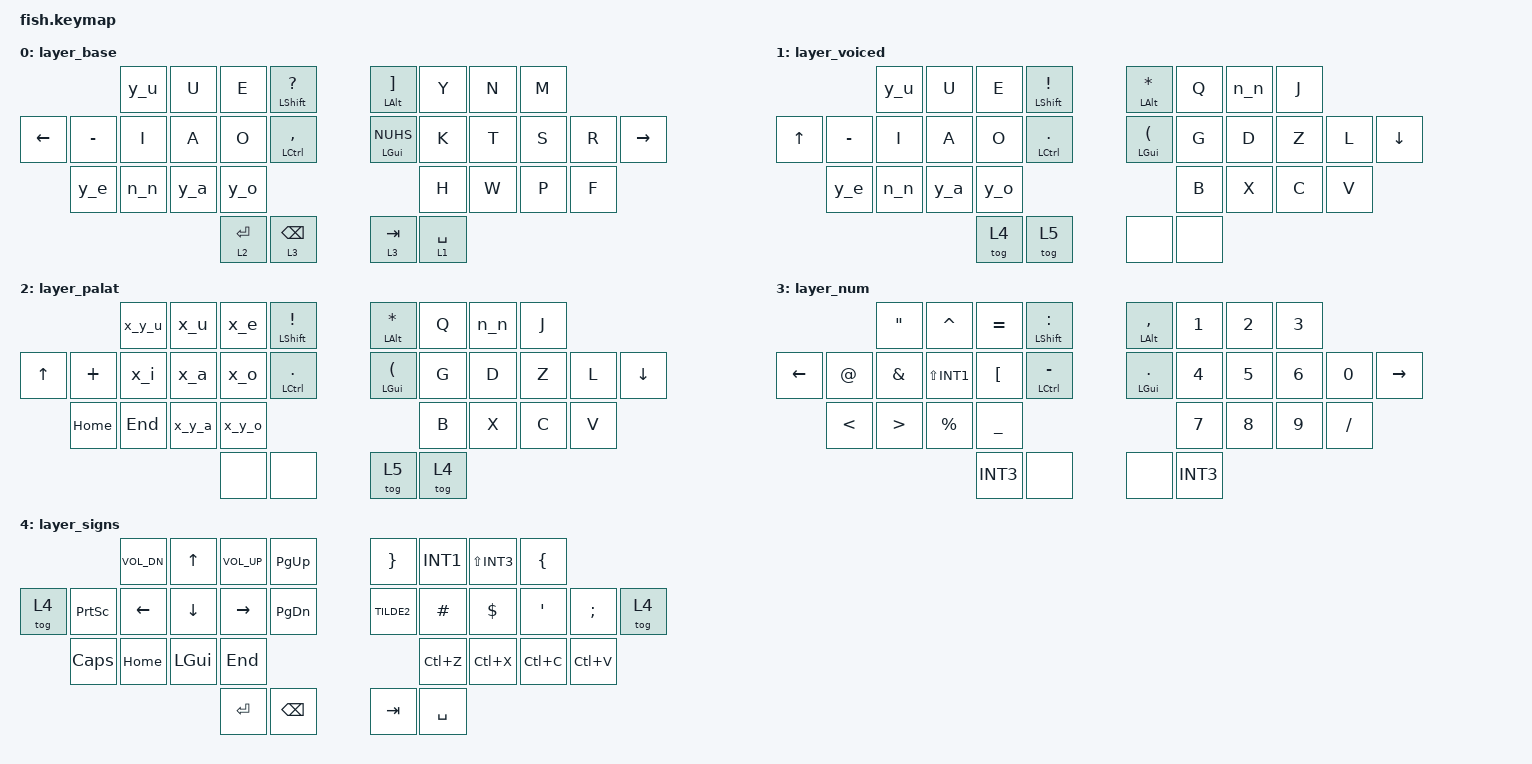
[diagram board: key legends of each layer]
// デフォルトキーマップ（大西配列、Win優先、ANSI方式）
// キーマップを更新する方法は https://o24.works/fish/guide を参照
// 視覚的に編集するには https://o24.works/fish/editor を参照


// 定義を呼んでくる
#include <behaviors.dtsi>
#include <dt-bindings/zmk/keys.h>
#include <dt-bindings/zmk/mouse.h>
#include <dt-bindings/zmk/bt.h>
#include <dt-bindings/zmk/outputs.h>
#include <dt-bindings/zmk/pointing.h>


// 特殊入力の挙動を調整できる

&mt {
    flavor = "tap-preferred";
    tapping-term-ms = <225>;
    quick-tap-ms = <200>;
    require-prior-idle-ms = <150>;
};

&lt {
    flavor = "balanced";
    tapping-term-ms = <175>;
    quick-tap-ms = <200>;
};

&sk {
};

&sl {
};

&caps_word {
};

&key_repeat {
};


/ {
    // 独自の入力を定義できる（上級者向け）

    behaviors {
    };

    macros {
        y_a: y_a {
            compatible = "zmk,behavior-macro";
            #binding-cells = <0>;
            bindings
                = <&macro_tap &kp Y &kp A>
                ;
            };

        z_y_o_u: z_y_o_u {
            compatible = "zmk,behavior-macro";
            #binding-cells = <0>;
            bindings
                = <&macro_tap &kp Z &kp Y &kp O &kp U>
                ;
            };

        y_o_u: y_o_u {
            compatible = "zmk,behavior-macro";
            #binding-cells = <0>;
            bindings
                = <&macro_tap &kp Y &kp O &kp U>
                ;
            };

      
        y_u: y_u {
            compatible = "zmk,behavior-macro";
            #binding-cells = <0>;
            bindings
                = <&macro_tap &kp Y &kp U>
                ;
            };

        y_e: y_e {
            compatible = "zmk,behavior-macro";
            #binding-cells = <0>;
            bindings
                = <&macro_tap &kp Y &kp E>
                ;
            };

        y_o: y_o {
            compatible = "zmk,behavior-macro";
            #binding-cells = <0>;
            bindings
                = <&macro_tap &kp Y &kp O>
                ;
            };

        x_a: x_a {
            compatible = "zmk,behavior-macro";
            #binding-cells = <0>;
            bindings
                = <&macro_tap &kp X &kp A>
                ;
            };

        x_i: x_i {
            compatible = "zmk,behavior-macro";
            #binding-cells = <0>;
            bindings
                = <&macro_tap &kp X &kp I>
                ;
            };

        x_u: x_u {
            compatible = "zmk,behavior-macro";
            #binding-cells = <0>;
            bindings
                = <&macro_tap &kp X &kp U>
                ;
            };

        x_e: x_e {
            compatible = "zmk,behavior-macro";
            #binding-cells = <0>;
            bindings
                = <&macro_tap &kp X &kp E>
                ;
            };

        x_o: x_o {
            compatible = "zmk,behavior-macro";
            #binding-cells = <0>;
            bindings
                = <&macro_tap &kp X &kp O>
                ;
            };

        x_y_a: x_y_a {
            compatible = "zmk,behavior-macro";
            #binding-cells = <0>;
            bindings
                = <&macro_tap &kp X &kp Y &kp A>
                ;
            };

        x_y_u: x_y_u {
            compatible = "zmk,behavior-macro";
            #binding-cells = <0>;
            bindings
                = <&macro_tap &kp X &kp Y &kp U>
                ;
            };

        x_y_o: x_y_o {
            compatible = "zmk,behavior-macro";
            #binding-cells = <0>;
            bindings
                = <&macro_tap &kp X &kp Y &kp O>
                ;
            };

        n_n: n_n {
            compatible = "zmk,behavior-macro";
            #binding-cells = <0>;
            bindings
                = <&macro_tap &kp N &kp N>
                ;
          };
    };

    conditional_layers {
    };


    // 複数キーの同時押しに特別の入力を設定できる
    // キー番号早見表：
    //       0  1  2  3     4  5  6  7
    // 8  9 10 11 12 13    14 15 16 17 18 19
    //   20 21 22 23          24 25 26 27
    //            28 29    30 31

    combos {
        compatible = "zmk,combos";
        timeout-ms = <100>;
        require-prior-idle-ms = <150>;

        combo_lang2 {
            key-positions = <11 12>;
            bindings = <&kp LANG2>;
        };

        combo_lang1 {
            key-positions = <15 16>;
            bindings = <&kp LANG1>;
        };

        combo_reset_L {
            key-positions = <3 8 13>;
            bindings = <&bootloader>;
        };

        combo_reset_R {
            key-positions = <4 14 19>;
            bindings = <&bootloader>;
        };

        combo_studio_unlock {
            key-positions = <20 21 22 23>;
            bindings = <&studio_unlock>;
        };

        jp_zkhk {
            key-positions = <29 30>;
            bindings = <&kp GRAVE>;
        };

        jp_mhen {
            key-positions = <28 31>;
            bindings = <&kp INT5>;
        };

        jp_henk1 {
            key-positions = <28 30>;
            bindings = <&kp INT4>;
        };

        jp_henk2 {
            key-positions = <29 31>;
            bindings = <&kp INT4>;
        };

        sk_shift {
            key-positions = <23 24>;
            bindings = <&sk LSHIFT>;
        };

        sk_ctrl {
            key-positions = <22 25>;
            bindings = <&sk LCTRL>;
        };

        sk_alt {
            key-positions = <21 26>;
            bindings = <&sk LALT>;
        };

        sk_gui {
            key-positions = <20 27>;
            bindings = <&sk LGUI>;
        };

        combo_zyou {
            key-positions = <31 17 23 1>;
            bindings = <&z_y_o_u>;
        };
  
         combo_you {
            key-positions = <23 1>;
            bindings = <&y_o_u>;
        };


    };
    

    // キーに入力を割り当てる
    // 型（&...）は https://zmk.dev/docs/behaviors/... を参照
    // キーコードは https://zmk.dev/docs/codes/... を参照

    keymap {
        compatible = "zmk,keymap";

        layer_base {
            bindings = <
                            &y_u    &kp U          &kp E      &mt LSHIFT QMARK               &mt LALT RBKT     &kp  Y          &kp N       &kp M       
&kp LEFT    &kp MINUS           &kp I         &kp A          &kp O           &mt LCTRL COMMA                &mt LGUI NUHS     &kp K           &kp T       &kp S       &kp R       &kp RIGHT       
            &y_e      &n_n    &y_a     &y_o                                                       &kp H           &kp W       &kp P       &kp F       
                                                         &lt 2 RET      &lt 3 BSPC                      &lt 3 TAB         &lt 1 SPACE 
            >;
        };

        layer_voiced {
            bindings = <
                              &y_u    &kp U        &kp E       &mt LSHIFT EXCL       &mt LALT STAR    &kp Q       &n_n    &kp J      
&kp UP    &kp MINUS &kp I         &kp A          &kp O      &mt LCTRL DOT         &mt LGUI LPAR    &kp G       &kp D         &kp Z     &kp L    &kp DOWN
            &y_e      &n_n    &y_a     &y_o                                         &kp B       &kp X         &kp C     &kp V    
                                                            &tog 4            &tog 5                     &none          &none                 
            >;
        };

        layer_palat {
            bindings = <
                            &x_y_u      &x_u        &x_e       &mt LSHIFT EXCL        &mt LALT STAR    &kp Q       &n_n    &kp J      
&kp UP    &kp PLUS &x_i        &x_a        &x_o     &mt LCTRL DOT          &mt LGUI LPAR    &kp G       &kp D         &kp Z     &kp L    &kp DOWN
            &kp HOME        &kp END           &x_y_a      &x_y_o                                           &kp B       &kp X         &kp C     &kp V    
                                                       &none            &none                   &tog 5            &tog 4 
            >;
        };

        layer_num {
            bindings = <
                     &kp DQT    &kp CARET     &kp EQUAL    &mt LSHIFT COLON        &mt LALT COMMA    &kp N1      &kp N2      &kp N3    
&kp LEFT    &kp AT   &kp AMPS   &kp LS(INT1)  &kp LBKT     &mt LCTRL MINUS         &mt LGUI DOT      &kp N4      &kp N5      &kp N6   &kp N0    &kp RIGHT  
            &kp LT   &kp GT     &kp PRCNT     &kp UNDER                                              &kp N7      &kp N8      &kp N9   &kp FSLH 
                                              &kp INT3     &none                   &none             &kp INT3       
            >;
        };

        layer_signs {
            bindings = <
                           &kp C_VOL_DN    &kp UP      &kp C_VOL_UP    &kp PG_UP          &kp RBRC     &kp INT1   &kp LS(INT3) &kp LBRC       
&tog 4      &kp PSCRN      &kp LEFT        &kp DOWN    &kp RIGHT       &kp PG_DN          &kp TILDE2   &kp HASH   &kp DLLR     &kp SQT      &kp SEMI     &tog 4
            &kp CAPS       &kp HOME        &kp LGUI    &kp END                                         &kp LC(Z)  &kp LC(X)    &kp LC(C)    &kp LC(V)       
                                                       &kp RET        &kp BSPC             &kp TAB      &kp SPACE 
            >;
        };
    };
};
